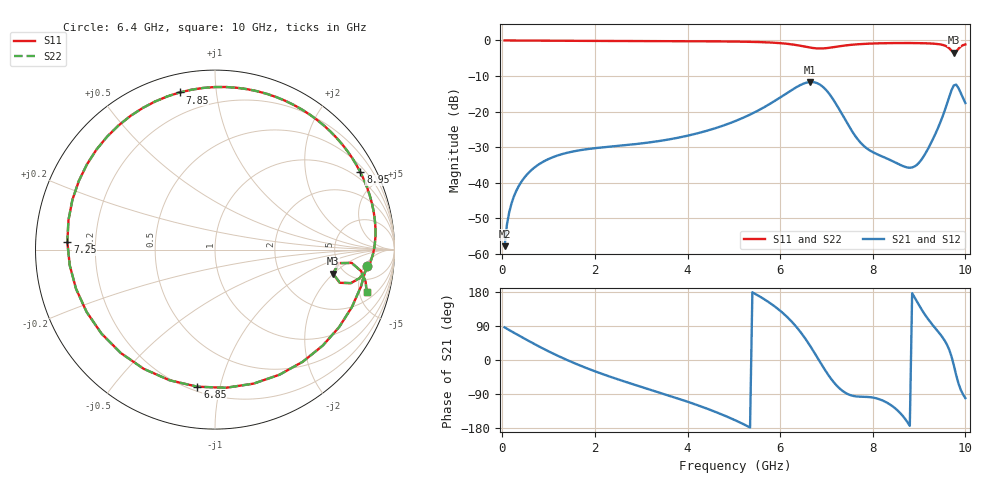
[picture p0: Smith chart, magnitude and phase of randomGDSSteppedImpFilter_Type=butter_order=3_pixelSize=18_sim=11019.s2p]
! freq	dB(S11)	phase(S11)	dB(S12)	phase(S12)
!  dB(S21)	phase(S21)	dB(S22)	phase(S22)
!S-par simulation data
#  GHz  S  DB  R 50
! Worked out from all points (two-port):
!   200 points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, 50 MHz to 10 GHz, reference 50 ohm
!   highest |S21| = -11.70 dB at 6.65 GHz (marker M1); lowest = -57.9 dB at 50 MHz (marker M2)
!   |S21| within 3 dB of the highest: 6.159 GHz to 7.041 GHz (881.9 MHz wide, 13.4 % of centre); 9.682 GHz to 9.897 GHz (214.8 MHz wide, 2.19 % of centre)
!   lowest |S11| = -3.5 dB at 9.75 GHz (marker M3), VSWR 5.06, Z = 203 - j98.6 ohm
!   |S11| at or under -10 dB: nowhere
!   |S22| runs from -3.5 to 0.0 dB; largest |S21 - S12| = 0
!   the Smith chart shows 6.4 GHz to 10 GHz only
!   S11 on the Smith chart (normalised r, x): 6.4 GHz: 9, -6; 6.85 GHz: 0.23, -0.85; 7.25 GHz: 0.10, +0.02; 7.85 GHz: 0.09, +0.80; 8.95 GHz: 0.71, +3.89; 10 GHz: 2.84, -5.91
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0.05  -0.00 -3.6  -57.87 86.2  -57.87 86.2  -0.00 -3.6
0.2  -0.02 -14.2  -45.81 75.5  -45.81 75.5  -0.02 -14.2
0.5  -0.05 -34.9  -38.21 55.0  -38.21 55.0  -0.05 -34.9
1.1  -0.09 -73.5  -32.80 16.8  -32.80 16.8  -0.09 -73.5
1.75  -0.12 -109.6  -30.73 -18.0  -30.73 -18.0  -0.12 -109.6
2.55  -0.14 -147.1  -29.59 -53.2  -29.59 -53.2  -0.14 -147.1
3.4  -0.17 177.9  -28.27 -86.2  -28.27 -86.2  -0.17 177.9
5.05  -0.32 107.2  -22.58 -160.1  -22.58 -160.1  -0.32 107.2
5.8  -0.59 60.5  -17.68 148.7  -17.68 148.7  -0.59 60.5
6.4  -1.41 -6.1  -12.78 80.0  -12.78 80.0  -1.41 -6.1
6.65  -2.01 -52.0  -11.70 36.8  -11.70 36.8  -2.01 -52.0
6.7  -2.11 -62.8  -11.70 27.1  -11.70 27.1  -2.11 -62.7
6.85  -2.27 -97.3  -12.35 -3.1  -12.35 -3.1  -2.27 -97.2
7.05  -2.08 -143.5  -14.84 -41.3  -14.84 -41.3  -2.08 -143.4
7.25  -1.69 177.1  -18.80 -71.2  -18.80 -71.2  -1.69 177.2
7.55  -1.21 133.6  -25.48 -93.9  -25.48 -93.9  -1.21 133.7
7.85  -0.94 102.7  -30.15 -97.3  -30.15 -97.3  -0.94 102.8
8.35  -0.75 64.6  -33.48 -115.7  -33.48 -115.7  -0.75 64.7
8.95  -0.75 28.0  -35.03 155.0  -35.03 155.0  -0.75 28.0
9.45  -1.09 -1.3  -23.31 69.0  -23.31 69.0  -1.09 -1.3
9.75  -3.48 -11.5  -12.64 -13.8  -12.64 -13.8  -3.46 -11.5
10  -1.13 -15.7  -17.63 -100.7  -17.63 -100.7  -1.13 -15.8
